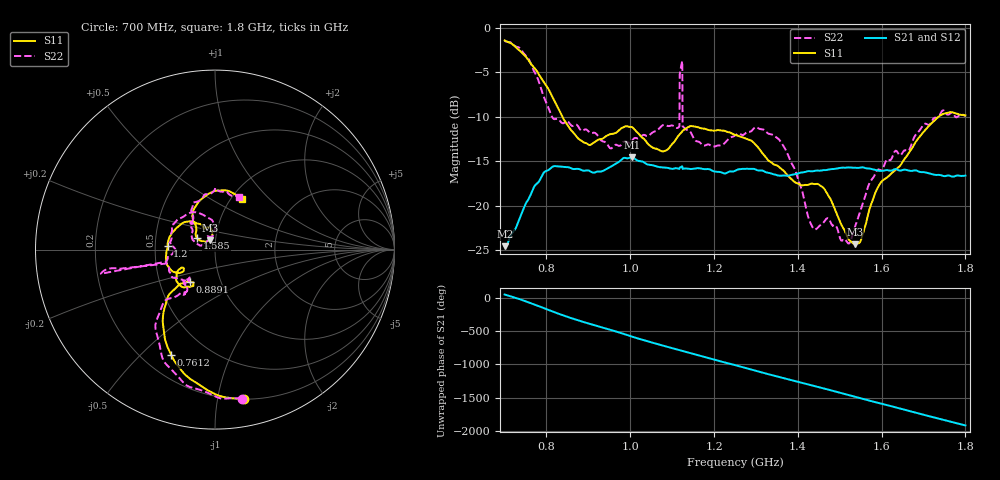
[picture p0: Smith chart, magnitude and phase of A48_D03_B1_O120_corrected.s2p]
! Created with skrf 1.9.0 (http://scikit-rf.org).
# Hz S RI R 50.0
!freq ReS11 ImS11 ReS21 ImS21 ReS12 ImS12 ReS22 ImS22
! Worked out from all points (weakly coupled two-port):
!   1601 points, 700 MHz to 1.8 GHz, reference 50 ohm
!   highest |S21| = -14.55 dB at 1.004 GHz (marker M1); lowest = -24.5 dB at 701.4 MHz (marker M2)
!   lowest |S11| = -24.3 dB at 1.536 GHz (marker M3), VSWR 1.13, Z = 47 + j5.08 ohm
!   |S11| at or under -10 dB: 838.2 MHz to 1.736 GHz (897.5 MHz wide, 69.7 % of centre)
!   |S22| runs from -24.2 to -1.5 dB; largest |S21 - S12| = 0.0035
!   S11 on the Smith chart (normalised r, x): 700 MHz: 0.20, -1.19; 761.2 MHz: 0.31, -0.62; 889.1 MHz: 0.71, -0.27; 1.2 GHz: 0.58, +0.03; 1.585 GHz: 0.81, +0.11; 1.8 GHz: 1.12, +0.71
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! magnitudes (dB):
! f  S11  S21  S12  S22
! 700 MHz  -1.4  -24.5  -24.3  -1.5
! 701.4 MHz  -1.5  -24.5  -24.2  -1.5
! 761.2 MHz  -3.9  -18.9  -18.8  -3.9
! 814.8 MHz  -7.8  -15.6  -15.7  -10.1
! 883.6 MHz  -12.7  -16.0  -15.9  -11.6
! 889.1 MHz  -12.9  -16.1  -16.0  -11.5
! 1.004 GHz  -11.2  -14.6  -14.7  -12.7
! 1.067 GHz  -13.7  -15.6  -15.6  -11.4
! 1.112 GHz  -12.3  -15.8  -15.9  -11.3
! 1.119 GHz  -11.9  -15.7  -15.6  -5.1
! 1.123 GHz  -11.7  -15.6  -15.5  -3.8
! 1.13 GHz  -11.4  -15.8  -15.9  -11.3
! 1.2 GHz  -11.6  -16.1  -16.1  -13.4
! 1.25 GHz  -12.0  -16.1  -16.0  -12.1
! 1.356 GHz  -15.7  -16.6  -16.6  -12.6
! 1.434 GHz  -17.5  -16.1  -16.1  -22.3
! 1.521 GHz  -23.8  -15.7  -15.7  -24.2
! 1.536 GHz  -24.3  -15.7  -15.7  -22.4
! 1.585 GHz  -18.5  -16.0  -16.0  -16.3
! 1.617 GHz  -16.7  -16.0  -16.0  -14.8
! 1.737 GHz  -10.0  -16.5  -16.6  -10.0
! 1.8 GHz  -9.9  -16.6  -16.6  -9.9
